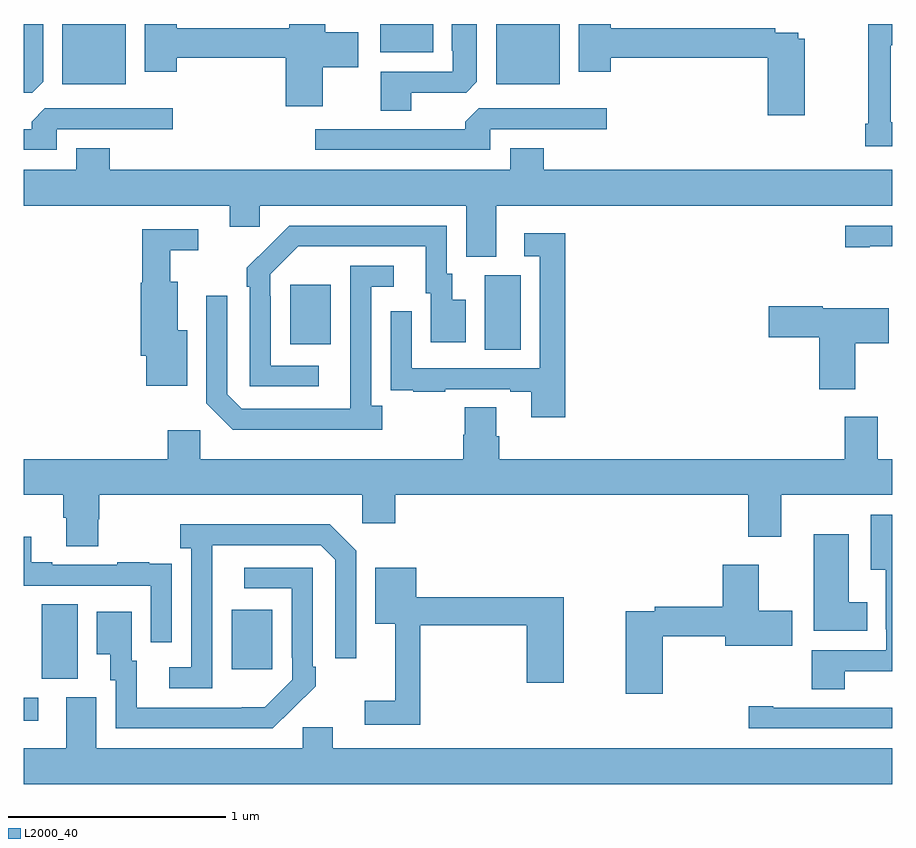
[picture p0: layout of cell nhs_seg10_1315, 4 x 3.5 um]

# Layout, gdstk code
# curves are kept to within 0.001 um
import gdstk
lib = gdstk.Library(unit=1e-6, precision=1e-09)
def R(c, l, rs):  # rectangles x0, y0, x1, y1
    for r in rs: c.add(gdstk.rectangle(r[:2], r[2:], *l))
def P(c, l, *ps):  # polygons
    for p in ps: c.add(gdstk.Polygon(p, *l))
L2000_40 = (2000, 40)

nhs_seg10_1315 = lib.new_cell('nhs_seg10_1315')
R(nhs_seg10_1315, L2000_40, [(179,1283.292,179.068,1283.397), (179.084,1283.485,179.248,1283.828), (179.957,1283.529,180.145,1283.803), (181.124,1285,181.288,1285.344), (180.227,1285.025,180.415,1285.3), (179.177,1286.222,179.47,1286.5), (181.175,1286.222,181.468,1286.5), (180.641,1286.369,180.886,1286.5)])
P(nhs_seg10_1315, L2000_40, [(182.596,1286.431),(182.566,1286.431),(182.566,1286.46),(182.462,1286.46),(182.462,1286.48),(181.703,1286.48),(181.703,1286.5),(181.556,1286.5),(181.556,1286.28),(181.703,1286.28),(181.703,1286.344),(182.426,1286.344),(182.426,1286.079),(182.596,1286.079)],
  [(183,1286.047),(182.993,1286.047),(182.993,1286.402),(183,1286.402),(183,1286.5),(182.89,1286.5),(182.89,1286.041),(182.875,1286.041),(182.875,1285.938),(183,1285.938)],
  [(180.784,1286.184),(181.038,1286.184),(181.087,1286.233),(181.087,1286.5),(180.971,1286.5),(180.971,1286.377),(180.975,1286.377),(180.975,1286.28),(180.644,1286.28),(180.644,1286.101),(180.784,1286.101)],
  [(180.376,1286.3),(180.541,1286.3),(180.541,1286.463),(180.388,1286.463),(180.388,1286.5),(180.222,1286.5),(180.222,1286.48),(179.705,1286.48),(179.705,1286.5),(179.558,1286.5),(179.558,1286.28),(179.705,1286.28),(179.705,1286.344),(180.206,1286.344),(180.206,1286.121),(180.376,1286.121)],
  [(179.089,1286.233),(179.089,1286.5),(179,1286.5),(179,1286.184),(179.04,1286.184)],
  [(181.149,1286.016),(181.684,1286.016),(181.684,1286.112),(181.095,1286.112),(181.034,1286.05),(181.034,1286.016),(180.342,1286.016),(180.342,1285.92),(181.149,1285.92)],
  [(179.151,1286.016),(179.686,1286.016),(179.686,1286.112),(179.097,1286.112),(179.036,1286.05),(179.036,1286.016),(179,1286.016),(179,1285.92),(179.151,1285.92)],
  [(181.177,1285.664),(183,1285.664),(183,1285.828),(181.394,1285.828),(181.394,1285.927),(181.241,1285.927),(181.241,1285.828),(179.396,1285.828),(179.396,1285.927),(179.243,1285.927),(179.243,1285.828),(179,1285.828),(179,1285.664),(179.948,1285.664),(179.948,1285.566),(180.087,1285.566),(180.087,1285.664),(181.037,1285.664),(181.037,1285.429),(181.177,1285.429)],
  [(182.896,1285.476),(183,1285.476),(183,1285.572),(182.784,1285.572),(182.784,1285.471),(182.896,1285.471)],
  [(180.358,1284.927),(180.138,1284.927),(180.138,1285.247),(180.135,1285.247),(180.135,1285.347),(180.264,1285.476),(180.851,1285.476),(180.851,1285.26),(180.875,1285.26),(180.875,1285.035),(181.036,1285.035),(181.036,1285.231),(180.973,1285.231),(180.973,1285.35),(180.948,1285.35),(180.948,1285.572),(180.224,1285.572),(180.027,1285.377),(180.027,1285.289),(180.042,1285.289),(180.042,1284.831),(180.358,1284.831)],
  [(179.752,1285.09),(179.71,1285.09),(179.71,1285.312),(179.674,1285.312),(179.674,1285.457),(179.803,1285.457),(179.803,1285.554),(179.545,1285.554),(179.545,1285.308),(179.54,1285.308),(179.54,1284.972),(179.564,1284.972),(179.564,1284.833),(179.752,1284.833)],
  [(181.493,1285.537),(181.305,1285.537),(181.305,1285.431),(181.377,1285.431),(181.377,1284.915),(180.786,1284.915),(180.786,1285.177),(180.69,1285.177),(180.69,1284.922),(180.691,1284.922),(180.691,1284.813),(180.793,1284.813),(180.793,1284.807),(180.941,1284.807),(180.941,1284.819),(181.241,1284.819),(181.241,1284.807),(181.337,1284.807),(181.337,1284.69),(181.493,1284.69)],
  [(180.652,1284.742),(180.6,1284.742),(180.6,1285.29),(180.703,1285.29),(180.703,1285.386),(180.504,1285.386),(180.503,1284.729),(180.003,1284.729),(179.937,1284.795),(179.937,1285.249),(179.841,1285.249),(179.841,1284.753),(179.962,1284.632),(180.652,1284.632)],
  [(182.83,1285.03),(182.983,1285.03),(182.983,1285.192),(182.679,1285.192),(182.679,1285.2),(182.43,1285.2),(182.43,1285.058),(182.663,1285.058),(182.663,1284.819),(182.83,1284.819)],
  [(179.343,1284.219),(179.348,1284.219),(179.348,1284.332),(180.558,1284.332),(180.558,1284.201),(180.71,1284.201),(180.71,1284.332),(182.336,1284.332),(182.336,1284.138),(182.488,1284.138),(182.488,1284.332),(183,1284.332),(183,1284.496),(182.932,1284.496),(182.932,1284.691),(182.78,1284.691),(182.78,1284.496),(181.19,1284.496),(181.19,1284.602),(181.177,1284.602),(181.177,1284.734),(181.03,1284.734),(181.03,1284.609),(181.025,1284.609),(181.025,1284.496),(179.814,1284.496),(179.814,1284.628),(179.663,1284.628),(179.663,1284.496),(179,1284.496),(179,1284.332),(179.183,1284.332),(179.183,1284.226),(179.195,1284.226),(179.195,1284.094),(179.343,1284.094)],
  [(182.782,1283.52),(183,1283.52),(183,1284.241),(182.9,1284.241),(182.9,1283.987),(182.969,1283.987),(182.969,1283.713),(182.973,1283.713),(182.973,1283.616),(182.63,1283.616),(182.63,1283.437),(182.782,1283.437)],
  [(179.868,1283.899),(179.869,1284.099),(180.369,1284.099),(180.435,1284.033),(180.435,1283.58),(180.531,1283.58),(180.531,1284.075),(180.41,1284.196),(179.721,1284.196),(179.721,1284.086),(179.772,1284.086),(179.772,1283.538),(179.67,1283.538),(179.67,1283.442),(179.868,1283.442)],
  [(182.884,1283.836),(182.8,1283.836),(182.8,1284.151),(182.639,1284.151),(182.639,1283.705),(182.884,1283.705)],
  [(179.682,1283.906),(179.681,1283.906),(179.681,1284.015),(179.579,1284.015),(179.579,1284.022),(179.431,1284.022),(179.431,1284.009),(179.131,1284.009),(179.131,1284.022),(179.035,1284.022),(179.035,1284.139),(179,1284.139),(179,1283.913),(179.586,1283.913),(179.586,1283.652),(179.682,1283.652)],
  [(181.943,1283.68),(182.231,1283.68),(182.231,1283.636),(182.539,1283.636),(182.539,1283.799),(182.386,1283.799),(182.386,1284.01),(182.219,1284.01),(182.219,1283.816),(181.906,1283.816),(181.906,1283.796),(181.772,1283.796),(181.772,1283.415),(181.943,1283.415)],
  [(180.239,1283.347),(180.24,1283.346),(180.345,1283.451),(180.345,1283.539),(180.33,1283.539),(180.33,1283.997),(180.015,1283.997),(180.015,1283.901),(180.234,1283.901),(180.234,1283.581),(180.237,1283.581),(180.237,1283.481),(180.109,1283.353),(179.521,1283.352),(179.521,1283.568),(179.497,1283.568),(179.497,1283.794),(179.336,1283.794),(179.336,1283.597),(179.399,1283.597),(179.399,1283.478),(179.424,1283.478),(179.424,1283.256),(180.148,1283.256)],
  [(180.827,1283.731),(181.316,1283.731),(181.316,1283.466),(181.486,1283.466),(181.486,1283.86),(180.808,1283.86),(180.808,1283.995),(180.62,1283.995),(180.62,1283.738),(180.71,1283.738),(180.71,1283.383),(180.57,1283.383),(180.57,1283.274),(180.827,1283.274)],
  [(183,1283.164),(180.424,1283.164),(180.424,1283.262),(180.285,1283.262),(180.285,1283.164),(179.335,1283.164),(179.335,1283.4),(179.195,1283.4),(179.195,1283.164),(179,1283.164),(179,1283),(183,1283)],
  [(183,1283.352),(182.452,1283.352),(182.452,1283.357),(182.34,1283.357),(182.34,1283.256),(183,1283.256)])

lib.write_gds('nhs_seg10_1315.gds')
